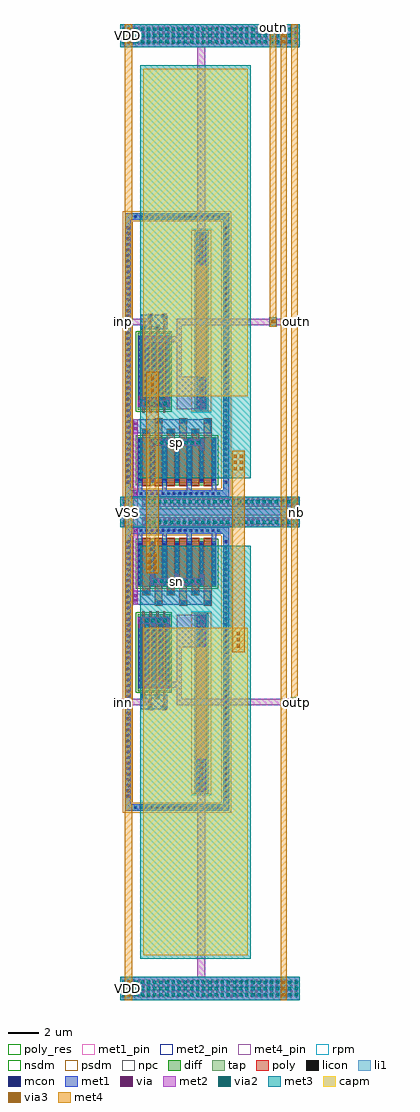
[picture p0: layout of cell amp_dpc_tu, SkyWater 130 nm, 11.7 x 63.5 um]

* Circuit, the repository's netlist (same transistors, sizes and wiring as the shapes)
* amp_dpc_tu: amp_dpc_t with taps edge
* amp_dpc_t: xschem/amp_dpc.sch with {'w': 20, 'l': 0.15, 'rl': 4000.0, 'wt': 6, 'mt': 6, 'mm': 0, 'cs': 6e-13}, Cs drawn 6.8 x 21.33 um (amp_dpc_tall.py)
** sch_path: /foss/designs/ook-asic-radio-tall-stages/xschem/amp_dpc.sch
.subckt amp_dpc_tu inp inn nb outp outn VDD VSS
*.PININFO VDD:B VSS:B nb:B inp:B inn:B outp:B outn:B
XRl_p outn VDD VSS sky130_fd_pr__res_high_po_0p69 L=7.37736 mult=1
XMp outn inp sp VSS sky130_fd_pr__nfet_01v8 L=0.15 W=20 nf=4
XMtail_p sp nb VSS VSS sky130_fd_pr__nfet_01v8 L=0.5 W=6 nf=2 m=3
XRl_n outp VDD VSS sky130_fd_pr__res_high_po_0p69 L=7.37736 mult=1
XMn outp inn sn VSS sky130_fd_pr__nfet_01v8 L=0.15 W=20 nf=4
XMtail_n sn nb VSS VSS sky130_fd_pr__nfet_01v8 L=0.5 W=6 nf=2 m=3
XCs_a sn sp sky130_fd_pr__cap_mim_m3_1 W=6.8 L=21.33
XCs_b sp sn sky130_fd_pr__cap_mim_m3_1 W=6.8 L=21.33
.ends

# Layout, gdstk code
import gdstk
lib = gdstk.Library(unit=1e-6, precision=1e-09)
def R(c, l, rs):  # rectangles x0, y0, x1, y1
    for r in rs: c.add(gdstk.rectangle(r[:2], r[2:], *l))
def A(c, l, x, y, w, h, nx, ny, dx, dy):  # array of equal rectangles
    R(c, l, [(x+i*dx, y+j*dy, x+i*dx+w, y+j*dy+h) for i in range(nx) for j in range(ny)])
def P(c, l, *ps):  # polygons
    for p in ps: c.add(gdstk.Polygon(p, *l))
diff = (65, 20)
tap = (65, 44)
poly_res = (66, 13)
poly = (66, 20)
licon = (66, 44)
li1 = (67, 20)
mcon = (67, 44)
met1_pin = (68, 16)
met1 = (68, 20)
via = (68, 44)
met2_pin = (69, 16)
met2 = (69, 20)
via2 = (69, 44)
met3 = (70, 20)
via3 = (70, 44)
met4_pin = (71, 16)
met4 = (71, 20)
rpm = (86, 20)
capm = (89, 44)
nsdm = (93, 44)
psdm = (94, 20)
npc = (95, 20)

amp_dpc_tu = lib.new_cell('amp_dpc_tu')
R(amp_dpc_tu, diff, [(1.15,20.1,3.25,25.1), (1.15,26.88,6.25,29.88), (1.15,33.62,6.25,36.62), (1.15,38.4,3.25,43.4)])
P(amp_dpc_tu, tap, [(0.3,32.75),(0.3,50.78),(0.7,50.78),(0.7,33.15),(6.7,33.15),(6.7,50.78),(0.3,50.78),(0.3,51.18),(7.1,51.18),(7.1,32.75)],
  [(0.3,12.32),(0.3,30.35),(0.7,30.35),(0.7,12.72),(6.7,12.72),(6.7,30.35),(0.3,30.35),(0.3,30.75),(7.1,30.75),(7.1,12.32)])
R(amp_dpc_tu, poly_res, [(4.94,15.62,5.63,23), (4.94,40.5,5.63,47.88)])
A(amp_dpc_tu, poly, 2.25, 25.65, 0.5, 0.33, 3, 2, 1.6, 11.87)
A(amp_dpc_tu, poly, 2.25, 25.98, 0.5, 4.1, 3, 2, 1.6, 7.44)
A(amp_dpc_tu, poly, 1.45, 26.35, 0.5, 0.33, 3, 2, 1.6, 10.47)
A(amp_dpc_tu, poly, 1.45, 26.68, 0.5, 3.4, 3, 2, 1.6, 6.74)
R(amp_dpc_tu, poly, [(4.94,13.52,5.63,25.1), (1.84,18.87,2.11,19.2), (2.74,18.87,3.01,19.2), (1.9,19.2,2.05,25.3), (2.8,19.2,2.95,25.3), (1.39,19.57,1.66,19.9), (2.29,19.57,2.56,19.9), (1.45,19.9,1.6,25.3), (2.35,19.9,2.5,25.3), (1.45,38.2,1.6,43.6), (1.9,38.2,2.05,44.3), (2.35,38.2,2.5,43.6), (2.8,38.2,2.95,44.3), (4.94,38.4,5.63,49.98), (1.39,43.6,1.66,43.93), (2.29,43.6,2.56,43.93), (1.84,44.3,2.11,44.63), (2.74,44.3,3.01,44.63)])
A(amp_dpc_tu, licon, 0.915, 12.435, 0.17, 0.17, 16, 2, 0.36, 18.03)
A(amp_dpc_tu, licon, 0.415, 13.17, 0.17, 0.17, 1, 47, 0, 0.36)
A(amp_dpc_tu, licon, 6.815, 13.17, 0.17, 0.17, 1, 47, 0, 0.36)
A(amp_dpc_tu, licon, 1.215, 20.355, 0.17, 0.17, 5, 13, 0.45, 0.36)
A(amp_dpc_tu, licon, 2.415, 25.73, 0.17, 0.17, 3, 2, 1.6, 11.87)
A(amp_dpc_tu, licon, 1.615, 26.43, 0.17, 0.17, 3, 2, 1.6, 10.47)
A(amp_dpc_tu, licon, 1.215, 27.035, 0.17, 0.17, 7, 8, 0.8, 0.36)
A(amp_dpc_tu, licon, 0.915, 32.865, 0.17, 0.17, 16, 2, 0.36, 18.03)
A(amp_dpc_tu, licon, 0.415, 33.6, 0.17, 0.17, 1, 47, 0, 0.36)
A(amp_dpc_tu, licon, 6.815, 33.6, 0.17, 0.17, 1, 47, 0, 0.36)
A(amp_dpc_tu, licon, 1.215, 33.775, 0.17, 0.17, 7, 8, 0.8, 0.36)
A(amp_dpc_tu, licon, 1.215, 38.655, 0.17, 0.17, 5, 13, 0.45, 0.36)
R(amp_dpc_tu, licon, [(5.19,13.6,5.38,15.6), (1.89,18.95,2.06,19.12), (2.79,18.95,2.96,19.12), (1.44,19.65,1.61,19.82), (2.34,19.65,2.51,19.82), (5.19,23.02,5.38,25.02), (5.19,38.48,5.38,40.48), (1.44,43.68,1.61,43.85), (2.34,43.68,2.51,43.85), (1.89,44.38,2.06,44.55), (2.79,44.38,2.96,44.55), (5.19,47.9,5.38,49.9)])
A(amp_dpc_tu, li1, 1.215, 20.275, 0.17, 4.65, 5, 2, 0.45, 18.3)
A(amp_dpc_tu, li1, 2.335, 25.73, 0.33, 0.17, 3, 2, 1.6, 11.87)
A(amp_dpc_tu, li1, 1.535, 26.43, 0.33, 0.17, 3, 2, 1.6, 10.47)
A(amp_dpc_tu, li1, 1.215, 26.955, 0.17, 2.85, 7, 2, 0.8, 6.74)
R(amp_dpc_tu, li1, [(4.94,13.52,5.63,15.68), (1.81,18.95,2.14,19.12), (2.71,18.95,3.04,19.12), (1.36,19.65,1.69,19.82), (2.26,19.65,2.59,19.82), (4.94,22.94,5.63,25.1), (4.94,38.4,5.63,40.56), (1.36,43.68,1.69,43.85), (2.26,43.68,2.59,43.85), (1.81,44.38,2.14,44.55), (2.71,44.38,3.04,44.55), (4.94,47.82,5.63,49.98)])
P(amp_dpc_tu, li1, [(0.3,32.75),(0.3,50.78),(0.7,50.78),(0.7,33.15),(6.7,33.15),(6.7,50.78),(0.3,50.78),(0.3,51.18),(7.1,51.18),(7.1,32.75)],
  [(0.3,12.32),(0.3,30.35),(0.7,30.35),(0.7,12.72),(6.7,12.72),(6.7,30.35),(0.3,30.35),(0.3,30.75),(7.1,30.75),(7.1,12.32)])
A(amp_dpc_tu, mcon, 0.915, 12.435, 0.17, 0.17, 16, 2, 0.36, 18.03)
A(amp_dpc_tu, mcon, 0.415, 13.17, 0.17, 0.17, 1, 47, 0, 0.36)
A(amp_dpc_tu, mcon, 6.815, 13.17, 0.17, 0.17, 1, 47, 0, 0.36)
A(amp_dpc_tu, mcon, 5.02, 13.615, 0.17, 0.17, 1, 6, 0, 0.36)
A(amp_dpc_tu, mcon, 5.38, 13.615, 0.17, 0.17, 1, 6, 0, 0.36)
A(amp_dpc_tu, mcon, 1.215, 20.355, 0.17, 0.17, 5, 13, 0.45, 0.36)
A(amp_dpc_tu, mcon, 5.02, 23.03, 0.17, 0.17, 1, 6, 0, 0.36)
A(amp_dpc_tu, mcon, 5.38, 23.03, 0.17, 0.17, 1, 6, 0, 0.36)
A(amp_dpc_tu, mcon, 2.415, 25.73, 0.17, 0.17, 3, 2, 1.6, 11.87)
A(amp_dpc_tu, mcon, 1.615, 26.43, 0.17, 0.17, 3, 2, 1.6, 10.47)
A(amp_dpc_tu, mcon, 1.215, 27.035, 0.17, 0.17, 7, 8, 0.8, 0.36)
A(amp_dpc_tu, mcon, 0.915, 32.865, 0.17, 0.17, 16, 2, 0.36, 18.03)
A(amp_dpc_tu, mcon, 0.415, 33.6, 0.17, 0.17, 1, 47, 0, 0.36)
A(amp_dpc_tu, mcon, 6.815, 33.6, 0.17, 0.17, 1, 47, 0, 0.36)
A(amp_dpc_tu, mcon, 1.215, 33.775, 0.17, 0.17, 7, 8, 0.8, 0.36)
A(amp_dpc_tu, mcon, 5.02, 38.5, 0.17, 0.17, 1, 6, 0, 0.36)
A(amp_dpc_tu, mcon, 5.38, 38.5, 0.17, 0.17, 1, 6, 0, 0.36)
A(amp_dpc_tu, mcon, 1.215, 38.655, 0.17, 0.17, 5, 13, 0.45, 0.36)
A(amp_dpc_tu, mcon, 5.02, 47.915, 0.17, 0.17, 1, 6, 0, 0.36)
A(amp_dpc_tu, mcon, 5.38, 47.915, 0.17, 0.17, 1, 6, 0, 0.36)
R(amp_dpc_tu, mcon, [(1.89,18.95,2.06,19.12), (2.79,18.95,2.96,19.12), (1.44,19.65,1.61,19.82), (2.34,19.65,2.51,19.82), (1.44,43.68,1.61,43.85), (2.34,43.68,2.51,43.85), (1.89,44.38,2.06,44.55), (2.79,44.38,2.96,44.55)])
R(amp_dpc_tu, met1_pin, [(0,0,1,1.5), (0,30.75,1,32.75), (0,62,1,63.5)])
A(amp_dpc_tu, met1, 1.185, 20.295, 0.23, 4.61, 5, 2, 0.45, 18.3)
A(amp_dpc_tu, met1, 1.17, 24.21, 0.26, 0.64, 3, 2, 0.9, 14.44)
A(amp_dpc_tu, met1, 1.15, 24.48, 0.3, 0.42, 3, 2, 0.9, 14.12)
A(amp_dpc_tu, met1, 2.315, 25.7, 0.37, 0.23, 3, 2, 1.6, 11.87)
A(amp_dpc_tu, met1, 1.515, 26.4, 0.37, 0.23, 3, 2, 1.6, 10.47)
A(amp_dpc_tu, met1, 1.15, 26.975, 0.3, 3.385, 4, 2, 1.6, 6.165)
A(amp_dpc_tu, met1, 1.185, 26.975, 0.23, 2.81, 7, 2, 0.8, 6.74)
A(amp_dpc_tu, met1, 1.95, 27.03, 0.3, 0.42, 3, 2, 1.6, 9.02)
A(amp_dpc_tu, met1, 1.97, 27.08, 0.26, 0.64, 3, 2, 1.6, 8.7)
R(amp_dpc_tu, met1, [(0,0,11.7,1.5), (4.99,13.555,5.58,15.655), (5.035,13.555,5.535,15.655), (1.34,18.92,3.055,19.85), (1.79,18.92,2.16,19.15), (2.69,18.92,3.055,19.15), (1.43,19.255,2.07,19.515), (1.34,19.62,1.71,19.85), (2.24,19.62,2.605,19.85), (1.6,20.3,1.9,20.72), (2.5,20.3,2.8,20.72), (1.62,20.35,1.88,20.99), (2.52,20.35,2.78,20.99), (4.99,22.965,5.58,25.065), (5.035,22.965,5.535,25.065), (0.85,25.7,5.885,26.63), (0,30.75,11.7,32.75), (0.85,36.87,5.885,37.8), (4.99,38.435,5.58,40.535), (5.035,38.435,5.535,40.535), (1.62,42.51,1.88,43.15), (2.52,42.51,2.78,43.15), (1.6,42.78,1.9,43.2), (2.5,42.78,2.8,43.2), (1.34,43.65,1.71,43.88), (1.34,43.65,3.055,44.58), (2.24,43.65,2.605,43.88), (1.43,43.985,2.07,44.245), (1.79,44.35,2.16,44.58), (2.69,44.35,3.055,44.58), (4.99,47.845,5.58,49.945), (5.035,47.845,5.535,49.945), (0,62,11.7,63.5)])
P(amp_dpc_tu, met1, [(0.3,32.75),(0.3,50.78),(0.7,50.78),(0.7,33.15),(6.7,33.15),(6.7,50.78),(0.3,50.78),(0.3,51.18),(7.1,51.18),(7.1,32.75)],
  [(0.3,12.32),(0.3,30.35),(0.7,30.35),(0.7,12.72),(6.7,12.72),(6.7,30.35),(0.3,30.35),(0.3,30.75),(7.1,30.75),(7.1,12.32)])
A(amp_dpc_tu, via, 0.175, 0.195, 0.15, 0.15, 36, 4, 0.32, 0.32)
A(amp_dpc_tu, via, 5.21, 13.73, 0.15, 0.15, 1, 6, 0, 0.32)
A(amp_dpc_tu, via, 5.21, 23.14, 0.15, 0.15, 1, 6, 0, 0.32)
A(amp_dpc_tu, via, 1.225, 24.295, 0.15, 0.15, 3, 2, 0.9, 0.32)
A(amp_dpc_tu, via, 2.025, 27.165, 0.15, 0.15, 3, 2, 1.6, 0.32)
A(amp_dpc_tu, via, 1.54, 30.845, 0.15, 0.15, 32, 2, 0.32, 0.32)
A(amp_dpc_tu, via, 1.54, 32.185, 0.15, 0.15, 32, 2, 0.32, 0.32)
A(amp_dpc_tu, via, 2.025, 35.865, 0.15, 0.15, 3, 2, 1.6, 0.32)
A(amp_dpc_tu, via, 5.21, 38.61, 0.15, 0.15, 1, 6, 0, 0.32)
A(amp_dpc_tu, via, 1.225, 38.735, 0.15, 0.15, 3, 2, 0.9, 0.32)
A(amp_dpc_tu, via, 5.21, 48.02, 0.15, 0.15, 1, 6, 0, 0.32)
A(amp_dpc_tu, via, 0.175, 62.195, 0.15, 0.15, 36, 4, 0.32, 0.32)
R(amp_dpc_tu, via, [(1.515,19.31,1.665,19.46), (1.835,19.31,1.985,19.46), (1.675,20.435,1.825,20.585), (2.575,20.435,2.725,20.585), (1.675,20.755,1.825,20.905), (2.575,20.755,2.725,20.905), (0.925,25.93,1.075,26.08), (0.925,26.25,1.075,26.4), (0.2,30.845,0.35,30.995), (0.2,31.165,0.35,31.315), (0.2,32.185,0.35,32.335), (0.2,32.505,0.35,32.655), (0.925,37.1,1.075,37.25), (0.925,37.42,1.075,37.57), (1.675,42.595,1.825,42.745), (2.575,42.595,2.725,42.745), (1.675,42.915,1.825,43.065), (2.575,42.915,2.725,43.065), (1.515,44.04,1.665,44.19), (1.835,44.04,1.985,44.19)])
A(amp_dpc_tu, met2_pin, 0, 19.185, 0.5, 0.4, 1, 3, 0, 12.365)
A(amp_dpc_tu, met2_pin, 11.2, 19.185, 0.5, 0.4, 1, 3, 0, 12.365)
A(amp_dpc_tu, met2, 1.17, 24.21, 0.26, 0.64, 3, 2, 0.9, 14.44)
A(amp_dpc_tu, met2, 1.97, 27.08, 0.26, 0.64, 3, 2, 1.6, 8.7)
R(amp_dpc_tu, met2, [(0,0,11.7,1.5), (5.035,1.49,5.535,15.655), (0,19.185,1.84,19.585), (3.7,19.185,11.7,19.585), (3.7,19.185,4,25.065), (1.43,19.255,2.07,19.515), (1.6,20.3,4,20.72), (1.62,20.35,1.88,20.99), (2.52,20.35,2.78,20.99), (3.7,22.965,5.535,25.065), (1.15,24.48,3.25,24.9), (0.85,25.7,1.15,31.75), (1.95,27.03,5.45,27.45), (0,30.75,0.55,31.41), (1.45,30.75,11.7,31.41), (0,31.55,11.7,31.95), (0.85,31.75,1.15,37.8), (0,32.09,0.55,32.75), (1.45,32.09,11.7,32.75), (1.95,36.05,5.45,36.47), (3.7,38.435,5.535,40.535), (3.7,38.435,4,44.315), (1.15,38.6,3.25,39.02), (1.62,42.51,1.88,43.15), (2.52,42.51,2.78,43.15), (1.6,42.78,4,43.2), (0,43.915,1.84,44.315), (3.7,43.915,11.7,44.315), (1.43,43.985,2.07,44.245), (5.035,47.845,5.535,62.01), (0,62,11.7,63.5)])
A(amp_dpc_tu, via2, 0.15, 0.25, 0.2, 0.2, 29, 3, 0.4, 0.4)
A(amp_dpc_tu, via2, 1.625, 24.59, 0.2, 0.2, 4, 2, 0.4, 14.12)
A(amp_dpc_tu, via2, 2.2, 27.14, 0.2, 0.2, 8, 2, 0.4, 9.02)
A(amp_dpc_tu, via2, 1.675, 30.98, 0.2, 0.2, 25, 2, 0.4, 1.34)
A(amp_dpc_tu, via2, 0.15, 62.25, 0.2, 0.2, 29, 3, 0.4, 0.4)
R(amp_dpc_tu, via2, [(11.25,19.285,11.45,19.485), (0.175,30.98,0.375,31.18), (0.175,32.32,0.375,32.52), (9.85,44.015,10.05,44.215)])
R(amp_dpc_tu, met3, [(0,0,11.7,1.5), (1.3,2.7,8.5,29.55), (11.1,19.085,11.6,19.685), (0,30.75,11.7,32.75), (1.3,33.95,8.5,60.8), (9.7,43.815,10.2,44.415), (0,62,11.7,63.5)])
A(amp_dpc_tu, via3, 0.45, 0.25, 0.2, 0.2, 1, 3, 0, 0.4)
A(amp_dpc_tu, via3, 10.55, 0.25, 0.2, 0.2, 1, 3, 0, 0.4)
A(amp_dpc_tu, via3, 7.6, 22.93, 0.2, 0.2, 1, 3, 0, 0.4)
A(amp_dpc_tu, via3, 1.8, 28.025, 0.2, 0.2, 1, 3, 0, 0.4)
A(amp_dpc_tu, via3, 2.2, 28.025, 0.2, 0.2, 1, 3, 0, 0.4)
A(amp_dpc_tu, via3, 7.4, 34.475, 0.2, 0.2, 1, 3, 0, 0.4)
A(amp_dpc_tu, via3, 7.8, 34.475, 0.2, 0.2, 1, 3, 0, 0.4)
A(amp_dpc_tu, via3, 2, 39.57, 0.2, 0.2, 1, 3, 0, 0.4)
A(amp_dpc_tu, via3, 0.45, 62.25, 0.2, 0.2, 1, 3, 0, 0.4)
A(amp_dpc_tu, via3, 10.55, 62.25, 0.2, 0.2, 1, 3, 0, 0.4)
R(amp_dpc_tu, via3, [(11.25,19.285,11.45,19.485), (9.85,44.015,10.05,44.215)])
R(amp_dpc_tu, met4_pin, [(9.75,63,10.15,63.5), (11.15,63,11.55,63.5)])
R(amp_dpc_tu, met4, [(0.3,0,0.8,63.5), (10.45,0,10.85,63.5), (11.15,19.085,11.55,63.5), (7.3,22.63,8.1,35.75), (1.7,27.75,2.5,40.87), (9.75,43.815,10.15,63.5)])
R(amp_dpc_tu, rpm, [(4.635,13.32,5.935,25.3), (4.65,13.32,5.92,25.3), (4.635,38.2,5.935,50.18), (4.65,38.2,5.92,50.18)])
R(amp_dpc_tu, capm, [(1.5,2.9,8.3,24.23), (1.5,39.27,8.3,60.6)])
R(amp_dpc_tu, nsdm, [(1.025,19.975,3.375,25.225), (1.025,26.755,6.375,30.005), (1.025,33.495,6.375,36.745), (1.025,38.275,3.375,43.525)])
R(amp_dpc_tu, psdm, [(4.635,13.41,5.935,25.21), (4.83,13.41,5.74,25.21), (4.635,38.29,5.935,50.09), (4.83,38.29,5.74,50.09)])
P(amp_dpc_tu, psdm, [(0.175,32.625),(0.175,50.655),(0.825,50.655),(0.825,33.275),(6.575,33.275),(6.575,50.655),(0.175,50.655),(0.175,51.305),(7.225,51.305),(7.225,32.625)],
  [(0.175,12.195),(0.175,30.225),(0.825,30.225),(0.825,12.845),(6.575,12.845),(6.575,30.225),(0.175,30.225),(0.175,30.875),(7.225,30.875),(7.225,12.195)])
A(amp_dpc_tu, npc, 2.24, 25.64, 0.52, 0.35, 3, 2, 1.6, 11.87)
A(amp_dpc_tu, npc, 1.44, 26.34, 0.52, 0.35, 3, 2, 1.6, 10.47)
R(amp_dpc_tu, npc, [(4.845,13.43,5.725,25.19), (1.83,18.86,2.12,19.21), (2.73,18.86,3.02,19.21), (1.38,19.56,1.67,19.91), (2.28,19.56,2.57,19.91), (4.845,38.31,5.725,50.07), (1.38,43.59,1.67,43.94), (2.28,43.59,2.57,43.94), (1.83,44.29,2.12,44.64), (2.73,44.29,3.02,44.64)])
amp_dpc_tu.add(gdstk.Label('VSS', (0.5,31.75), layer=68, texttype=5))
amp_dpc_tu.add(gdstk.Label('VDD', (0.5,62.75), layer=68, texttype=5))
amp_dpc_tu.add(gdstk.Label('VDD', (0.5,0.75), layer=68, texttype=5))
amp_dpc_tu.add(gdstk.Label('nb', (0.25,31.75), layer=69, texttype=5))
amp_dpc_tu.add(gdstk.Label('nb', (11.45,31.75), layer=69, texttype=5))
amp_dpc_tu.add(gdstk.Label('inp', (0.25,44.115), layer=69, texttype=5))
amp_dpc_tu.add(gdstk.Label('outn', (11.45,44.115), layer=69, texttype=5))
amp_dpc_tu.add(gdstk.Label('sp', (3.7,36.26), layer=69, texttype=5))
amp_dpc_tu.add(gdstk.Label('inn', (0.25,19.385), layer=69, texttype=5))
amp_dpc_tu.add(gdstk.Label('outp', (11.45,19.385), layer=69, texttype=5))
amp_dpc_tu.add(gdstk.Label('sn', (3.7,27.24), layer=69, texttype=5))
amp_dpc_tu.add(gdstk.Label('outn', (9.95,63.25), layer=71, texttype=5))
amp_dpc_tu.add(gdstk.Label('outp', (11.35,63.25), layer=71, texttype=5))

lib.write_gds('amp_dpc_tu.gds')
